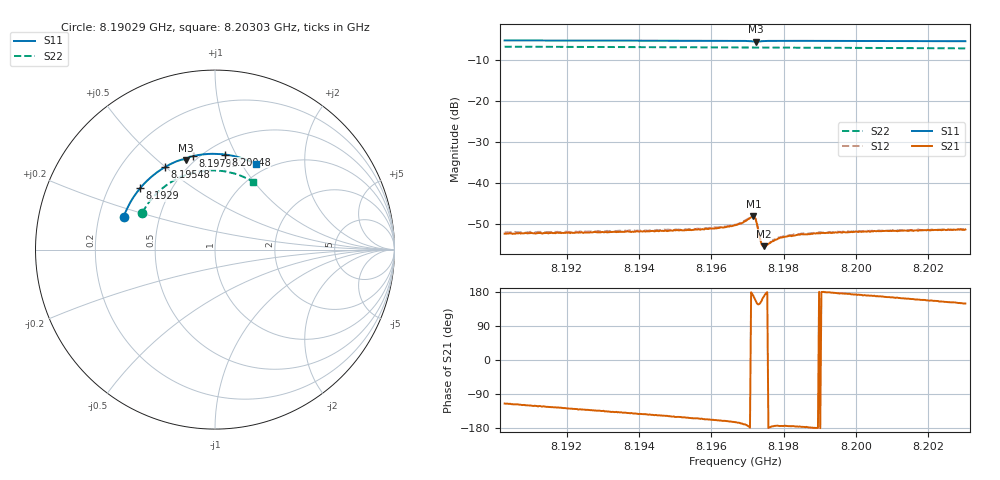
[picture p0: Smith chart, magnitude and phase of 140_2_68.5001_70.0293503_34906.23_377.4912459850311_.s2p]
#  HZ  S  RI  R  50.00
! Rohde & Schwarz Vector Network Analyzer
! Rohde-Schwarz,ZNB20-2Port,1311601062101988,3.16
! Created: UTC 3/20/2024, 4:54:50 PM
! freq[Hz]  re:S11  im:S11  re:S21  im:S21  re:S12  im:S12  re:S22  im:S22
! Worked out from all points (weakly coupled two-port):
!   401 points, 8.19029 GHz to 8.20303 GHz, reference 50 ohm
!   highest |S21| = -48.18 dB at 8.19717 GHz (marker M1); lowest = -55.4 dB at 8.19745 GHz (marker M2)
!   lowest |S11| = -5.6 dB at 8.19723 GHz (marker M3), VSWR 3.19, Z = 22.7 + j31.1 ohm
!   |S11| at or under -10 dB: nowhere
!   |S22| runs from -7.3 to -6.9 dB; largest |S21 - S12| = 0.00023
!   S11 on the Smith chart (normalised r, x): 8.19029 GHz: 0.31, +0.16; 8.1929 GHz: 0.33, +0.32; 8.19548 GHz: 0.38, +0.50; 8.19793 GHz: 0.47, +0.68; 8.20048 GHz: 0.61, +0.91; 8.20303 GHz: 0.88, +1.16
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8.190287e9  -0.5088 0.1837  -0.00102 -0.00218  -0.00111 -0.00225  -0.4051 0.2057
8.192421e9  -0.438 0.3154  -0.00163 -0.00191  -0.00171 -0.00191  -0.3361 0.3015
8.192899e9  -0.4173 0.342  -0.00172 -0.00183  -0.00187 -0.0018  -0.3174 0.3202
8.194555e9  -0.3334 0.4226  -0.00214 -0.00144  -0.00226 -0.00141  -0.2441 0.3762
8.195478e9  -0.2793 0.4592  -0.0024 -0.00118  -0.00249 -0.00115  -0.1988 0.4006
8.196147e9  -0.2371 0.4817  -0.00261 -0.00101  -0.00271 -0.000943  -0.1642 0.4149
8.196656e9  -0.2029 0.496  -0.00293 -0.000839  -0.003 -0.000722  -0.1371 0.4238
8.196847e9  -0.1889 0.5004  -0.00317 -0.000702  -0.00325 -0.000592  -0.1266 0.4265
8.197102e9  -0.1682 0.5021  -0.00382 9.71e-05  -0.00394 0.00029  -0.1128 0.43
8.197166e9  -0.1637 0.4996  -0.00382 0.000756  -0.00388 0.000943  -0.1092 0.4306
8.197229e9  -0.163 0.4967  -0.00326 0.00145  -0.00326 0.00162  -0.1058 0.4313
8.197357e9  -0.1637 0.5021  -0.00176 0.000989  -0.00173 0.00108  -0.0991 0.4328
8.197389e9  -0.1622 0.5043  -0.00165 0.000739  -0.00167 0.000822  -0.0974 0.4332
8.197452e9  -0.158 0.5079  -0.00166 0.000374  -0.00167 0.0004  -0.0938 0.434
8.197516e9  -0.1533 0.5107  -0.00171 0.000113  -0.00175 0.000207  -0.0903 0.4345
8.197771e9  -0.1345 0.5178  -0.00203 -0.000223  -0.00209 -7.86e-05  -0.076 0.437
8.19793e9  -0.1228 0.5208  -0.00215 -0.000223  -0.0022 -0.000151  -0.0671 0.4381
8.19844e9  -0.0864 0.5278  -0.00233 -0.000193  -0.00238 -8.66e-05  -0.0385 0.4407
8.19879e9  -0.0616 0.531  -0.0024 -6.96e-05  -0.00242 3.78e-05  -0.0186 0.4413
8.200478e9  0.0578 0.5295  -0.00253 0.000487  -0.00252 0.000586  0.0765 0.4319
8.200923e9  0.0889 0.5247  -0.00252 0.000627  -0.00252 0.000781  0.1012 0.4258
8.203025e9  0.2294 0.4771  -0.00233 0.00139  -0.00229 0.00149  0.2113 0.3785
